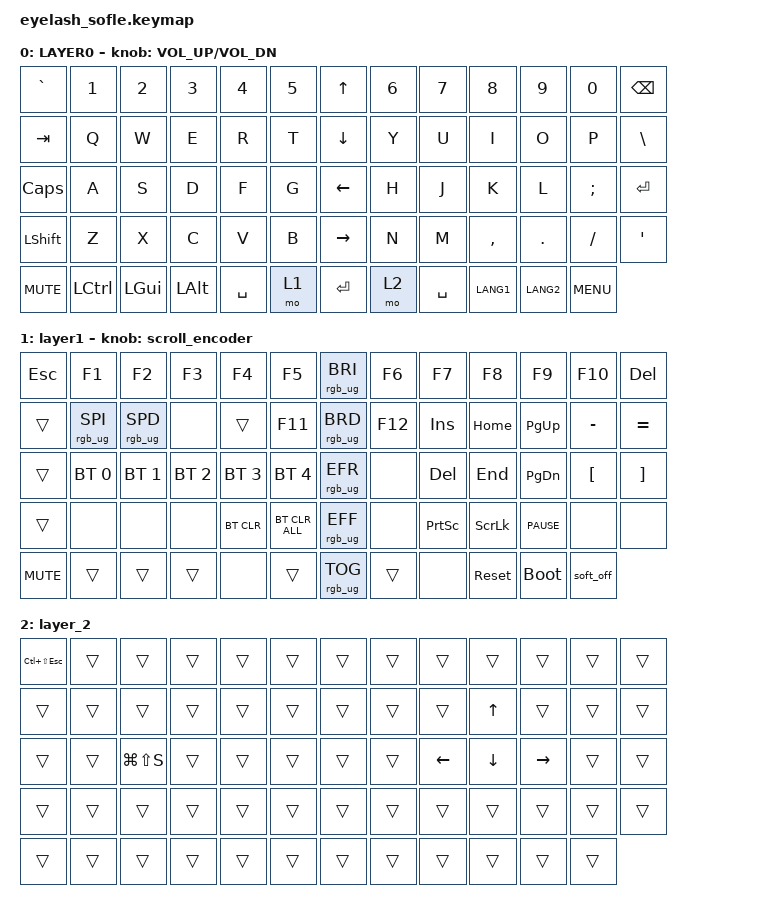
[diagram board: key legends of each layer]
#define ZMK_POINTING_DEFAULT_MOVE_VAL 1200  // 600
#define ZMK_POINTING_DEFAULT_SCRL_VAL 25   // 10

#include <input/processors.dtsi>
#include <zephyr/dt-bindings/input/input-event-codes.h>
#include <behaviors.dtsi>
#include <dt-bindings/zmk/bt.h>
#include <dt-bindings/zmk/keys.h>
#include <dt-bindings/zmk/pointing.h>
#include <dt-bindings/zmk/rgb.h>

&mmv_input_listener { input-processors = <&zip_xy_scaler 2 1>; };

&msc_input_listener { input-processors = <&zip_scroll_scaler 2 1>; };

&msc {
    acceleration-exponent = <1>;      // 0
    time-to-max-speed-ms = <100>;       // 300
    delay-ms = <0>;                   // 0
};

&mmv {
    time-to-max-speed-ms = <500>;
    acceleration-exponent = <1>;
    trigger-period-ms = <16>;
};

/ {
    scroll_encoder: scroll_encoder {
        compatible = "zmk,behavior-sensor-rotate";
        #sensor-binding-cells = <0>;
        bindings = <&msc SCRL_DOWN>, <&msc SCRL_UP>;

        tap-ms = <100>;
    };

    behaviors {
    };

    keymap {
        compatible = "zmk,keymap";

        layer0 {
            bindings = <
&kp GRAVE   &kp N1     &kp N2        &kp N3        &kp N4     &kp N5    &kp UP_ARROW     &kp N6  &kp N7     &kp N8     &kp N9     &kp N0      &kp BACKSPACE
&kp TAB     &kp Q      &kp W         &kp E         &kp R      &kp T     &kp DOWN_ARROW   &kp Y   &kp U      &kp I      &kp O      &kp P       &kp BSLH
&kp CAPS    &kp A      &kp S         &kp D         &kp F      &kp G     &kp LEFT_ARROW   &kp H   &kp J      &kp K      &kp L      &kp SEMI    &kp ENTER
&kp LSHFT   &kp Z      &kp X         &kp C         &kp V      &kp B     &kp RIGHT_ARROW  &kp N   &kp M      &kp COMMA  &kp DOT    &kp FSLH    &kp SINGLE_QUOTE
&kp C_MUTE  &kp LCTRL  &kp LEFT_GUI  &kp LEFT_ALT  &kp SPACE  &mo 1     &kp ENTER        &mo 2   &kp SPACE  &kp LANG1  &kp LANG2  &kp C_MENU
            >;

            sensor-bindings = <&inc_dec_kp C_VOLUME_UP C_VOL_DN>;
            display-name = "LAYER0";
        };

        layer_1 {
            bindings = <
&kp ESCAPE  &kp F1           &kp F2           &kp F3        &kp F4        &kp F5            &rgb_ug RGB_BRI  &kp F6   &kp F7           &kp F8          &kp F9         &kp F10           &kp DEL
&trans      &rgb_ug RGB_SPI  &rgb_ug RGB_SPD  &none         &trans        &kp F11           &rgb_ug RGB_BRD  &kp F12  &kp INS          &kp HOME        &kp PAGE_UP    &kp MINUS         &kp EQUAL
&trans      &bt BT_SEL 0     &bt BT_SEL 1     &bt BT_SEL 2  &bt BT_SEL 3  &bt BT_SEL 4      &rgb_ug RGB_EFR  &none    &kp DELETE       &kp END         &kp PAGE_DOWN  &kp LEFT_BRACKET  &kp RIGHT_BRACKET
&trans      &none            &none            &none         &bt BT_CLR    &bt BT_CLR_ALL    &rgb_ug RGB_EFF  &none    &kp PRINTSCREEN  &kp SCROLLLOCK  &kp C_PAUSE    &none             &none
&kp C_MUTE  &trans           &trans           &trans        &none         &trans            &rgb_ug RGB_TOG  &trans   &none            &sys_reset      &bootloader    &soft_off
            >;

            display-name = "layer1";
            sensor-bindings = <&scroll_encoder>;
        };

        layer_2 {
            bindings = <
&kp LC(LS(ESCAPE))  &trans  &trans         &trans  &trans  &trans    &trans  &trans  &trans          &trans          &trans           &trans  &trans
&trans              &trans  &trans         &trans  &trans  &trans    &trans  &trans  &trans          &kp UP_ARROW    &trans           &trans  &trans
&trans              &trans  &kp LG(LS(S))  &trans  &trans  &trans    &trans  &trans  &kp LEFT_ARROW  &kp DOWN_ARROW  &kp RIGHT_ARROW  &trans  &trans
&trans              &trans  &trans         &trans  &trans  &trans    &trans  &trans  &trans          &trans          &trans           &trans  &trans
&trans              &trans  &trans         &trans  &trans  &trans    &trans  &trans  &trans          &trans          &trans           &trans
            >;
        };
    };
};
